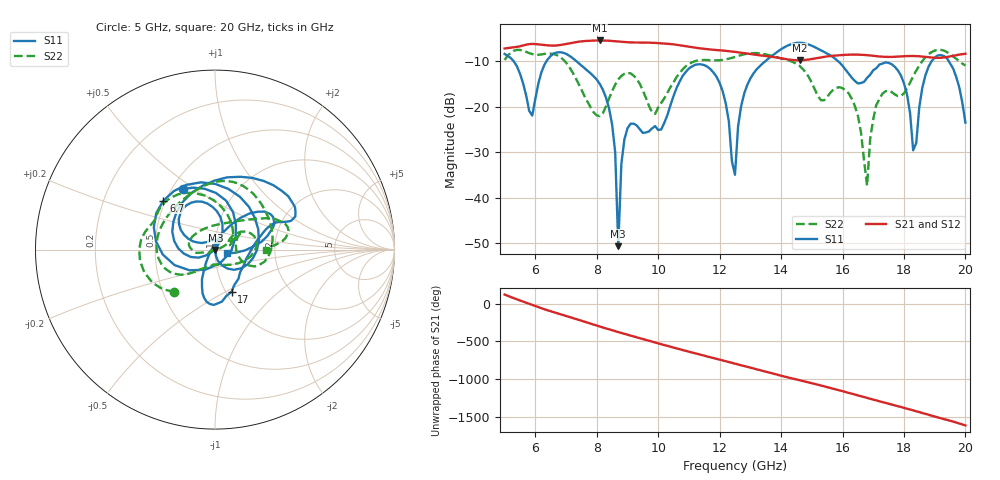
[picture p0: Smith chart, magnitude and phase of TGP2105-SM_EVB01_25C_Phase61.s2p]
! Date: Wednesday, June 05, 2013  1:53 PM
! Filename: C:\Data\Mike_Arnold\TGP2105-SM\Over_Temp\TGP2105-SM_EVB01_25C_Phase61.s2p
! Comments:
!^VDC(V):5.000
!^VDC(mA):0.128
!%Freq(GHz),S11(dB),S11(ang),S21(dB),S21(ang),S12(dB),S12(ang),S22(dB),S22(ang)
# GHz  S  DB  R  50
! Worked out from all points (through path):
!   151 points, 5 GHz to 20 GHz, reference 50 ohm
!   highest |S21| = -5.40 dB at 8.1 GHz (marker M1); lowest = -9.8 dB at 14.6 GHz (marker M2)
!   lowest |S11| = -50.6 dB at 8.7 GHz (marker M3), VSWR 1.01, Z = 50.2 - j0.191 ohm
!   |S11| at or under -10 dB: 5.3 GHz to 6.362 GHz (1.062 GHz wide, 18.2 % of centre); 7.343 GHz to 13.48 GHz (6.136 GHz wide, 58.9 % of centre); 15.86 GHz to 18.9 GHz (3.035 GHz wide, 17.5 % of centre)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
!   |S22| runs from -37.3 to -7.5 dB; largest |S21 - S12| = 0.0023
!   S11 on the Smith chart (normalised r, x): 5 GHz: 0.57, +0.45; 6.7 GHz: 0.49, +0.32; 17 GHz: 1.06, -0.54; 20 GHz: 1.14, -0.05
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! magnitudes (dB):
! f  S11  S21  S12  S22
! 5 GHz  -8.4  -7.2  -7.2  -9.7
! 5.9 GHz  -21.9  -6.2  -6.2  -8.4
! 6.7 GHz  -8.0  -6.5  -6.5  -8.6
! 7.5 GHz  -10.9  -5.6  -5.6  -16.2
! 8.1 GHz  -15.0  -5.4  -5.4  -22.0
! 8.5 GHz  -23.9  -5.5  -5.5  -16.5
! 8.7 GHz  -50.6  -5.6  -5.7  -14.0
! 8.8 GHz  -32.6  -5.7  -5.7  -13.2
! 9 GHz  -24.7  -5.8  -5.8  -12.5
! 10 GHz  -25.1  -6.0  -6.0  -20.1
! 11.6 GHz  -11.2  -7.3  -7.3  -9.7
! 12.5 GHz  -34.9  -7.9  -7.9  -9.0
! 13 GHz  -13.8  -8.4  -8.4  -8.2
! 14.6 GHz  -5.9  -9.8  -9.8  -11.0
! 15 GHz  -6.6  -9.5  -9.5  -14.7
! 16.3 GHz  -13.6  -8.5  -8.5  -18.2
! 16.8 GHz  -13.6  -8.6  -8.7  -37.3
! 17 GHz  -11.9  -8.8  -8.8  -22.7
! 17.5 GHz  -10.3  -9.0  -9.1  -16.5
! 18.3 GHz  -29.5  -8.8  -8.8  -13.2
! 19.1 GHz  -8.7  -9.2  -9.3  -7.5
! 20 GHz  -23.4  -8.3  -8.4  -10.9
